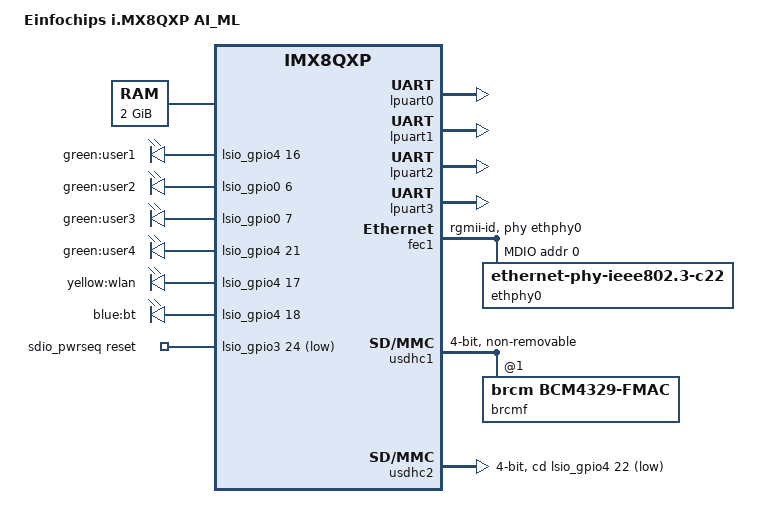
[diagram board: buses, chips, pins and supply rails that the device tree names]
// SPDX-License-Identifier: GPL-2.0+
/*
 * Copyright 2018 Einfochips
 * Copyright 2019 Linaro Ltd.
 */

/dts-v1/;

#include "imx8qxp.dtsi"

/ {
	model = "Einfochips i.MX8QXP AI_ML";
	compatible = "einfochips,imx8qxp-ai_ml", "fsl,imx8qxp";

	aliases {
		serial1 = &lpuart1;
		serial2 = &lpuart2;
		serial3 = &lpuart3;
	};

	chosen {
		stdout-path = &lpuart2;
	};

	memory@80000000 {
		device_type = "memory";
		reg = <0x00000000 0x80000000 0 0x80000000>;
	};

	leds {
		compatible = "gpio-leds";
		pinctrl-names = "default";
		pinctrl-0 = <&pinctrl_leds>;

		user-led1 {
			label = "green:user1";
			gpios = <&lsio_gpio4 16 GPIO_ACTIVE_HIGH>;
			linux,default-trigger = "heartbeat";
		};

		user-led2 {
			label = "green:user2";
			gpios = <&lsio_gpio0 6 GPIO_ACTIVE_HIGH>;
			linux,default-trigger = "none";
		};

		user-led3 {
			label = "green:user3";
			gpios = <&lsio_gpio0 7 GPIO_ACTIVE_HIGH>;
			linux,default-trigger = "mmc1";
			default-state = "off";
		};

		user-led4 {
			label = "green:user4";
			gpios = <&lsio_gpio4 21 GPIO_ACTIVE_HIGH>;
			panic-indicator;
			linux,default-trigger = "none";
		};

		wlan-active-led {
			label = "yellow:wlan";
			gpios = <&lsio_gpio4 17 GPIO_ACTIVE_HIGH>;
			linux,default-trigger = "phy0tx";
			default-state = "off";
		};

		bt-active-led {
			label = "blue:bt";
			gpios = <&lsio_gpio4 18 GPIO_ACTIVE_HIGH>;
			linux,default-trigger = "hci0-power";
			default-state = "off";
		};
	};

	sdio_pwrseq: sdio-pwrseq {
		compatible = "mmc-pwrseq-simple";
		pinctrl-names = "default";
		pinctrl-0 = <&pinctrl_wifi_reg_on>;
		reset-gpios = <&lsio_gpio3 24 GPIO_ACTIVE_LOW>;
	};
};

/* BT */
&lpuart0 {
	pinctrl-names = "default";
	pinctrl-0 = <&pinctrl_lpuart0>;
	uart-has-rtscts;
	status = "okay";
};

/* LS-UART0 */
&lpuart1 {
	pinctrl-names = "default";
	pinctrl-0 = <&pinctrl_lpuart1>;
	status = "okay";
};

/* Debug */
&lpuart2 {
	pinctrl-names = "default";
	pinctrl-0 = <&pinctrl_lpuart2>;
	status = "okay";
};

/* PCI-E UART */
&lpuart3 {
	pinctrl-names = "default";
	pinctrl-0 = <&pinctrl_lpuart3>;
	status = "okay";
};

&fec1 {
	pinctrl-names = "default";
	pinctrl-0 = <&pinctrl_fec1>;
	phy-mode = "rgmii-id";
	phy-handle = <&ethphy0>;
	fsl,magic-packet;
	status = "okay";

	mdio {
		#address-cells = <1>;
		#size-cells = <0>;

		ethphy0: ethernet-phy@0 {
			compatible = "ethernet-phy-ieee802.3-c22";
			reg = <0>;
		};
	};
};

/* WiFi */
&usdhc1 {
	#address-cells = <1>;
	#size-cells = <0>;
	assigned-clocks = <&clk IMX_SC_R_SDHC_0 IMX_SC_PM_CLK_PER>;
	assigned-clock-rates = <200000000>;
	pinctrl-names = "default";
	pinctrl-0 = <&pinctrl_usdhc1>;
	bus-width = <4>;
	no-sd;
	non-removable;
	mmc-pwrseq = <&sdio_pwrseq>;
	status = "okay";

	brcmf: wifi@1 {
		reg = <1>;
		compatible = "brcm,bcm4329-fmac";
	};
};

/* SD */
&usdhc2 {
	assigned-clocks = <&clk IMX_SC_R_SDHC_1 IMX_SC_PM_CLK_PER>;
	assigned-clock-rates = <200000000>;
	pinctrl-names = "default";
	pinctrl-0 = <&pinctrl_usdhc2>;
	bus-width = <4>;
	cd-gpios = <&lsio_gpio4 22 GPIO_ACTIVE_LOW>;
	status = "okay";
};

&iomuxc {
	pinctrl_fec1: fec1grp {
		fsl,pins = <
			IMX8QXP_ENET0_MDC_CONN_ENET0_MDC			0x06000020
			IMX8QXP_ENET0_MDIO_CONN_ENET0_MDIO			0x06000020
			IMX8QXP_ENET0_RGMII_TX_CTL_CONN_ENET0_RGMII_TX_CTL	0x06000020
			IMX8QXP_ENET0_RGMII_TXC_CONN_ENET0_RGMII_TXC		0x06000020
			IMX8QXP_ENET0_RGMII_TXD0_CONN_ENET0_RGMII_TXD0		0x06000020
			IMX8QXP_ENET0_RGMII_TXD1_CONN_ENET0_RGMII_TXD1		0x06000020
			IMX8QXP_ENET0_RGMII_TXD2_CONN_ENET0_RGMII_TXD2		0x06000020
			IMX8QXP_ENET0_RGMII_TXD3_CONN_ENET0_RGMII_TXD3		0x06000020
			IMX8QXP_ENET0_RGMII_RXC_CONN_ENET0_RGMII_RXC		0x06000020
			IMX8QXP_ENET0_RGMII_RX_CTL_CONN_ENET0_RGMII_RX_CTL	0x06000020
			IMX8QXP_ENET0_RGMII_RXD0_CONN_ENET0_RGMII_RXD0		0x06000020
			IMX8QXP_ENET0_RGMII_RXD1_CONN_ENET0_RGMII_RXD1		0x06000020
			IMX8QXP_ENET0_RGMII_RXD2_CONN_ENET0_RGMII_RXD2		0x06000020
			IMX8QXP_ENET0_RGMII_RXD3_CONN_ENET0_RGMII_RXD3		0x06000020
		>;
	};

	pinctrl_leds: ledsgrp{
		fsl,pins = <
			IMX8QXP_ESAI0_TX2_RX3_LSIO_GPIO0_IO06			0x00000021
			IMX8QXP_ESAI0_TX3_RX2_LSIO_GPIO0_IO07			0x00000021
			IMX8QXP_EMMC0_DATA7_LSIO_GPIO4_IO16			0x00000021
			IMX8QXP_USDHC1_WP_LSIO_GPIO4_IO21			0x00000021
			IMX8QXP_EMMC0_STROBE_LSIO_GPIO4_IO17			0x00000021
			IMX8QXP_EMMC0_RESET_B_LSIO_GPIO4_IO18			0x00000021
		>;
	};

	pinctrl_lpuart0: lpuart0grp {
		fsl,pins = <
			IMX8QXP_UART0_RX_ADMA_UART0_RX				0X06000020
			IMX8QXP_UART0_TX_ADMA_UART0_TX				0X06000020
			IMX8QXP_FLEXCAN0_TX_ADMA_UART0_CTS_B			0x06000020
			IMX8QXP_FLEXCAN0_RX_ADMA_UART0_RTS_B			0x06000020
		>;
	};

	pinctrl_lpuart1: lpuart1grp {
		fsl,pins = <
			IMX8QXP_UART1_RX_ADMA_UART1_RX				0X06000020
			IMX8QXP_UART1_TX_ADMA_UART1_TX				0X06000020
		>;
	};

	pinctrl_lpuart2: lpuart2grp {
		fsl,pins = <
			IMX8QXP_UART2_RX_ADMA_UART2_RX				0X06000020
			IMX8QXP_UART2_TX_ADMA_UART2_TX				0X06000020
		>;
	};

	pinctrl_lpuart3: lpuart3grp {
		fsl,pins = <
			IMX8QXP_FLEXCAN2_RX_ADMA_UART3_RX			0X06000020
			IMX8QXP_FLEXCAN2_TX_ADMA_UART3_TX			0X06000020
		>;
	};

	pinctrl_usdhc1: usdhc1grp {
		fsl,pins = <
			IMX8QXP_EMMC0_CLK_CONN_EMMC0_CLK			0x06000041
			IMX8QXP_EMMC0_CMD_CONN_EMMC0_CMD			0x00000021
			IMX8QXP_EMMC0_DATA0_CONN_EMMC0_DATA0			0x00000021
			IMX8QXP_EMMC0_DATA1_CONN_EMMC0_DATA1			0x00000021
			IMX8QXP_EMMC0_DATA2_CONN_EMMC0_DATA2			0x00000021
			IMX8QXP_EMMC0_DATA3_CONN_EMMC0_DATA3			0x00000021
		>;
	};

	pinctrl_usdhc2: usdhc2grp {
		fsl,pins = <
			IMX8QXP_USDHC1_CLK_CONN_USDHC1_CLK			0x06000041
			IMX8QXP_USDHC1_CMD_CONN_USDHC1_CMD			0x00000021
			IMX8QXP_USDHC1_DATA0_CONN_USDHC1_DATA0			0x00000021
			IMX8QXP_USDHC1_DATA1_CONN_USDHC1_DATA1			0x00000021
			IMX8QXP_USDHC1_DATA2_CONN_USDHC1_DATA2			0x00000021
			IMX8QXP_USDHC1_DATA3_CONN_USDHC1_DATA3			0x00000021
			IMX8QXP_USDHC1_VSELECT_CONN_USDHC1_VSELECT		0x00000021
			IMX8QXP_USDHC1_CD_B_LSIO_GPIO4_IO22			0x00000021
		>;
	};

	pinctrl_wifi_reg_on: wifiregongrp {
		fsl,pins = <
			IMX8QXP_QSPI0B_SS1_B_LSIO_GPIO3_IO24			0x00000021
		>;
	};
};
